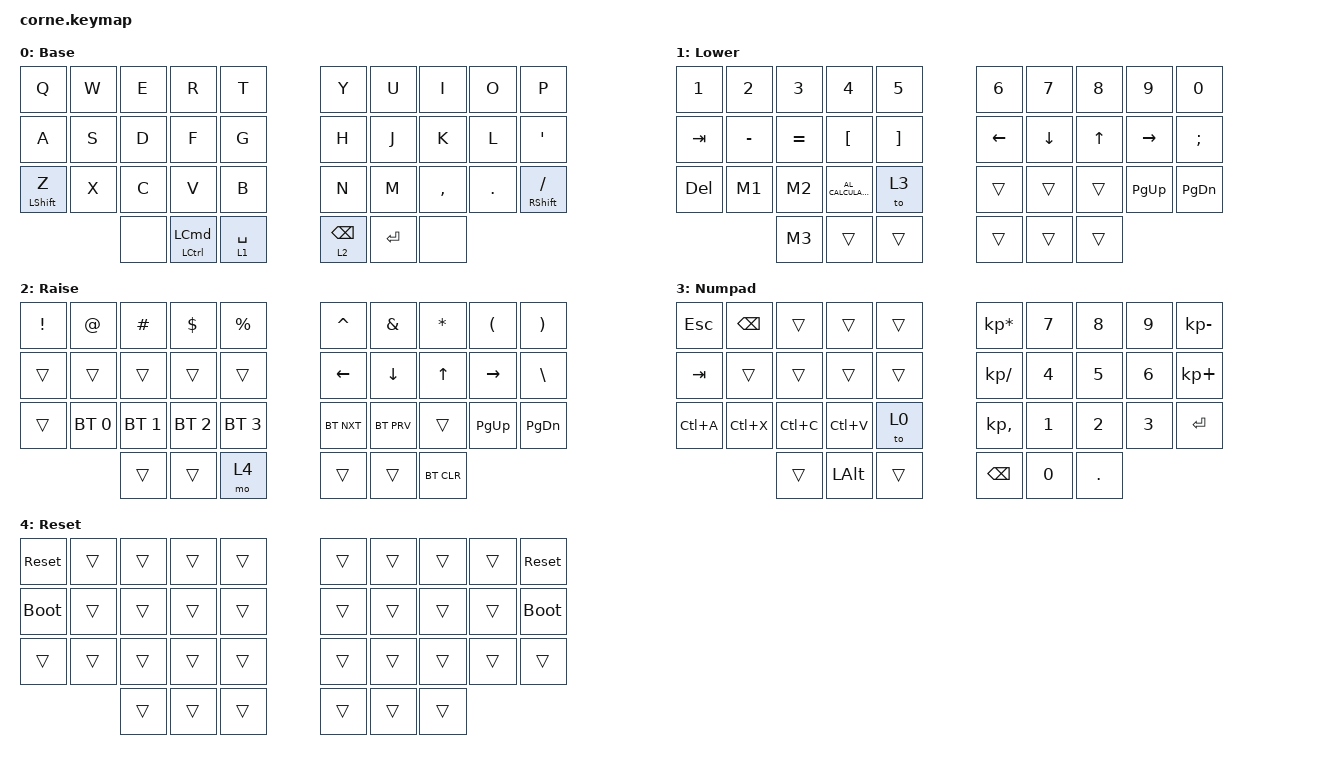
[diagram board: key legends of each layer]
/*
 * Copyright (c) 2020 The ZMK Contributors
 *
 * SPDX-License-Identifier: MIT
 */

#include <behaviors.dtsi>
#include <dt-bindings/zmk/bt.h>
#include <dt-bindings/zmk/keys.h>

/ {
    chosen { zmk,matrix_transform = &five_column_transform; };
};

/ {
    combos {
        compatible = "zmk,combos";

        Esc {
            bindings = <&kp ESC>;
            key-positions = <1 0>;
        };
    };

    macros {
        M1: M1 {
            compatible = "zmk,behavior-macro";
            #binding-cells = <0>;
            bindings = <&kp LS(LG(S))>;
            label = "M1";
        };

        M3: M3 {
            compatible = "zmk,behavior-macro";
            #binding-cells = <0>;
            bindings = <&kp LC(LA(DEL))>;
            label = "M3";
        };

        M2: M2 {
            compatible = "zmk,behavior-macro";
            #binding-cells = <0>;
            bindings = <&kp LC(LS(R))>;
            label = "M2";
        };
    };

    keymap {
        compatible = "zmk,keymap";

        default_layer {
            // -----------------------------------------------------------------------------------------
            // |  TAB |  Q  |  W  |  E  |  R  |  T  |   |  Y  |  U   |  I  |  O  |  P  | BKSP |
            // | CTRL |  A  |  S  |  D  |  F  |  G  |   |  H  |  J   |  K  |  L  |  ;  |  '   |
            // | SHFT |  Z  |  X  |  C  |  V  |  B  |   |  N  |  M   |  ,  |  .  |  /  | ESC  |
            //                    | GUI | LWR | SPC |   | ENT | RSE  | ALT |

            label = "Base";
            bindings = <
  &kp Q             &kp W  &kp E  &kp R           &kp T          &kp Y            &kp U      &kp I      &kp O       &kp P
  &kp A             &kp S  &kp D  &kp F           &kp G          &kp H            &kp J      &kp K      &kp L       &kp SQT
  &mt LEFT_SHIFT Z  &kp X  &kp C  &kp V           &kp B          &kp N            &kp M      &kp COMMA  &kp PERIOD  &mt RSHFT SLASH
                           &none  &mt LCTRL LCMD  &lt 1 SPACE    &lt 2 BACKSPACE  &kp ENTER  &none
            >;
        };

        lower_layer {
            // -----------------------------------------------------------------------------------------
            // |  TAB |  1  |  2  |  3  |  4  |  5  |   |  6  |  7  |  8  |  9  |  0  | BKSP |
            // | BTCLR| BT1 | BT2 | BT3 | BT4 | BT5 |   | LFT | DWN |  UP | RGT |     |      |
            // | SHFT |     |     |     |     |     |   |     |     |     |     |     |      |
            //                    | GUI |     | SPC |   | ENT |     | ALT |

            label = "Lower";
            bindings = <
  &kp NUMBER_1  &kp NUMBER_2  &kp NUMBER_3  &kp NUMBER_4         &kp N5               &kp NUMBER_6  &kp N7    &kp N8        &kp N9     &kp N0
  &kp TAB       &kp MINUS     &kp EQUAL     &kp LEFT_BRACKET     &kp RIGHT_BRACKET    &kp LEFT      &kp DOWN  &kp UP_ARROW  &kp RIGHT  &kp SEMICOLON
  &kp DEL       &M1           &M2           &kp C_AL_CALCULATOR  &to 3                &trans        &trans    &trans        &kp PG_UP  &kp PAGE_DOWN
                              &M3           &trans               &trans               &trans        &trans    &trans
            >;
        };

        raise_layer {
            // -----------------------------------------------------------------------------------------
            // |  TAB |  !  |  @  |  #  |  $  |  %  |   |  ^  |  &  |  *  |  (  |  )  | BKSP |
            // | CTRL |     |     |     |     |     |   |  -  |  =  |  [  |  ]  |  \  |  `   |
            // | SHFT |     |     |     |     |     |   |  _  |  +  |  {  |  }  | "|" |  ~   |
            //                    | GUI |     | SPC |   | ENT |     | ALT |

            label = "Raise";
            bindings = <
  &kp EXCLAMATION  &kp AT_SIGN   &kp HASH      &kp DOLLAR    &kp PERCENT     &kp CARET   &kp AMPERSAND  &kp ASTERISK  &kp LEFT_PARENTHESIS  &kp RIGHT_PARENTHESIS
  &trans           &trans        &trans        &trans        &trans          &kp LEFT    &kp DOWN       &kp UP_ARROW  &kp RIGHT             &kp BACKSLASH
  &trans           &bt BT_SEL 0  &bt BT_SEL 1  &bt BT_SEL 2  &bt BT_SEL 3    &bt BT_NXT  &bt BT_PRV     &trans        &kp PG_UP             &kp PAGE_DOWN
                                 &trans        &trans        &mo 4           &trans      &trans         &bt BT_CLR
            >;
        };

        Numpad_Layer {
            label = "Numpad";
            bindings = <
  &kp ESCAPE  &kp BACKSPACE  &trans     &trans     &trans    &kp KP_MULTIPLY  &kp N7        &kp N8        &kp N9        &kp KP_MINUS
  &kp TAB     &trans         &trans     &trans     &trans    &kp KP_DIVIDE    &kp NUMBER_4  &kp N5        &kp NUMBER_6  &kp KP_PLUS
  &kp LC(A)   &kp LC(X)      &kp LC(C)  &kp LC(V)  &to 0     &kp KP_COMMA     &kp NUMBER_1  &kp NUMBER_2  &kp NUMBER_3  &kp ENTER
                             &trans     &kp LALT   &trans    &kp BACKSPACE    &kp N0        &kp PERIOD
            >;
        };

        Reset_Layer {
            label = "Reset";
            bindings = <
  &sys_reset   &trans  &trans  &trans  &trans    &trans  &trans  &trans  &trans  &sys_reset
  &bootloader  &trans  &trans  &trans  &trans    &trans  &trans  &trans  &trans  &bootloader
  &trans       &trans  &trans  &trans  &trans    &trans  &trans  &trans  &trans  &trans
                       &trans  &trans  &trans    &trans  &trans  &trans
            >;
        };
    };
};
